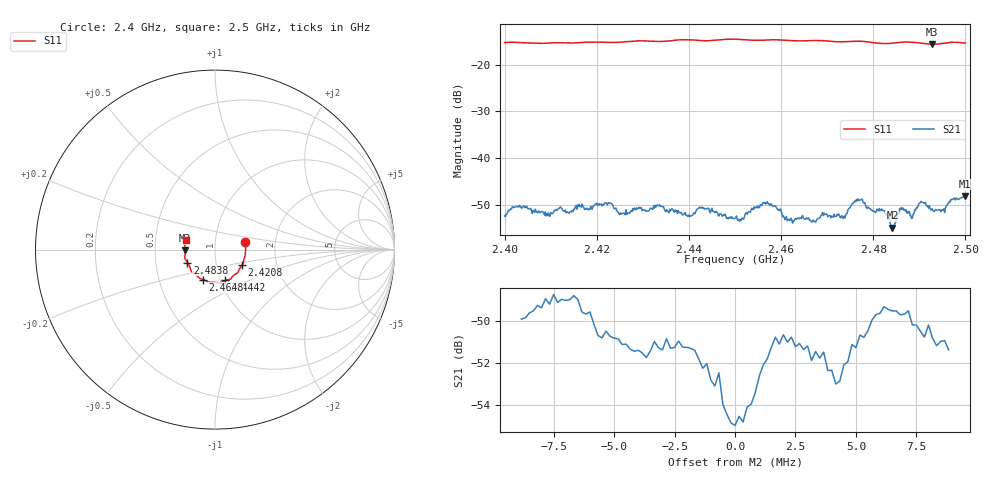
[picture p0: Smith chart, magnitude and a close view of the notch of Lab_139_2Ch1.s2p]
# Hz S RI R 50
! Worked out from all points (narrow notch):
!   601 points, 2.4 GHz to 2.5 GHz, reference 50 ohm
!   highest |S21| = -48.15 dB at 2.4998 GHz (marker M1); lowest = -55.0 dB at 2.4842 GHz (marker M2)
!   notch at M2: 3.7 dB deep, 1.5 MHz wide at half that depth
!   lowest |S11| = -15.6 dB at 2.4928 GHz (marker M3), VSWR 1.40, Z = 35.8 - j0.35 ohm
!   |S11| at or under -10 dB: start of sweep to end of sweep
!   S12 and S22 are empty: the file has one direction only
!   S11 on the Smith chart (normalised r, x): 2.4 GHz: 1.40, +0.12; 2.4208 GHz: 1.33, -0.24; 2.4442 GHz: 1.05, -0.37; 2.4648 GHz: 0.83, -0.29; 2.4838 GHz: 0.73, -0.11; 2.5 GHz: 0.72, +0.08
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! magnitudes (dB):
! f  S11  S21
! 2.4 GHz  -15.3  -52.4
! 2.403 GHz  -15.2  -50.5
! 2.4167 GHz  -15.2  -50.5
! 2.4208 GHz  -15.2  -50.0
! 2.4253 GHz  -15.2  -52.0
! 2.4333 GHz  -15.0  -50.3
! 2.44 GHz  -14.7  -52.2
! 2.4442 GHz  -14.9  -50.8
! 2.45 GHz  -14.5  -53.0
! 2.4565 GHz  -14.7  -49.6
! 2.4613 GHz  -14.8  -53.5
! 2.4648 GHz  -14.9  -52.8
! 2.4667 GHz  -14.8  -53.8
! 2.4735 GHz  -15.1  -53.0
! 2.4772 GHz  -15.0  -49.0
! 2.4833 GHz  -15.5  -53.1
! 2.4838 GHz  -15.4  -54.4
! 2.4842 GHz  -15.4  -55.0
! 2.4862 GHz  -15.2  -50.7
! 2.4928 GHz  -15.6  -50.9
! 2.4998 GHz  -15.3  -48.2
! 2.5 GHz  -15.4  -48.4
